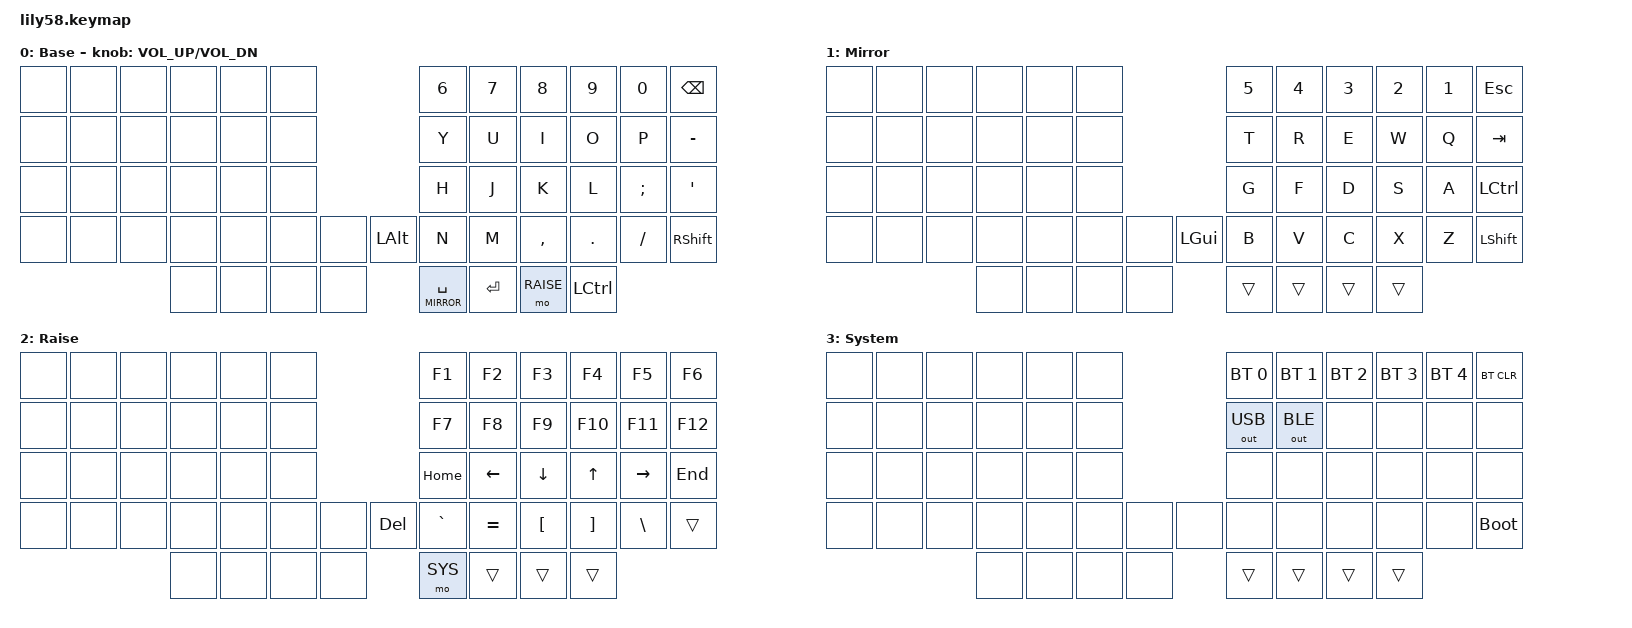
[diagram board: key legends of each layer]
/*
 * Lily58 - right half used standalone (one-handed layout)
 * Hold the Space thumb key to mirror the left half onto the right.
 *
 * SPDX-License-Identifier: MIT
 */

#include <behaviors.dtsi>
#include <dt-bindings/zmk/keys.h>
#include <dt-bindings/zmk/bt.h>
#include <dt-bindings/zmk/outputs.h>
#include <dt-bindings/zmk/ext_power.h>

#define BASE   0
#define MIRROR 1
#define RAISE  2
#define SYS    3

// Holding Space while typing another key counts as "hold" (mirror layer),
// so fast one-handed typing doesn't spit out stray spaces.
&lt {
    flavor = "balanced";
    tapping-term-ms = <200>;
};

/ {
    keymap {
        compatible = "zmk,keymap";

        default_layer {
// Right half only (left-half positions are &none):
// |  6  |  7  |  8  |  9  |  0  | BSPC |
// |  Y  |  U  |  I  |  O  |  P  |  -   |
// |  H  |  J  |  K  |  L  |  ;  |  '   |
// [ALT] |  N  |  M  |  ,  |  .  |  /  | SHIFT |
// | SPC/MIRROR | ENTER | RAISE | CTRL |
            display-name = "Base";
            bindings = <
&none &none &none &none &none &none                    &kp N6 &kp N7 &kp N8    &kp N9  &kp N0   &kp BSPC
&none &none &none &none &none &none                    &kp Y  &kp U  &kp I     &kp O   &kp P    &kp MINUS
&none &none &none &none &none &none                    &kp H  &kp J  &kp K     &kp L   &kp SEMI &kp SQT
&none &none &none &none &none &none &none   &kp LALT   &kp N  &kp M  &kp COMMA &kp DOT &kp FSLH &kp RSHFT
                  &none &none &none &none   &lt MIRROR SPACE  &kp RET  &mo RAISE  &kp LCTRL
            >;

            sensor-bindings = <&inc_dec_kp C_VOL_UP C_VOL_DN>;
        };

        mirror_layer {
// Hold Space: left half mirrored onto the right
// |  5  |  4  |  3  |  2  |  1  | ESC  |
// |  T  |  R  |  E  |  W  |  Q  | TAB  |
// |  G  |  F  |  D  |  S  |  A  | CTRL |
// [GUI] |  B  |  V  |  C  |  X  |  Z  | SHIFT |
            display-name = "Mirror";
            bindings = <
&none &none &none &none &none &none                    &kp N5 &kp N4 &kp N3 &kp N2 &kp N1 &kp ESC
&none &none &none &none &none &none                    &kp T  &kp R  &kp E  &kp W  &kp Q  &kp TAB
&none &none &none &none &none &none                    &kp G  &kp F  &kp D  &kp S  &kp A  &kp LCTRL
&none &none &none &none &none &none &none   &kp LGUI   &kp B  &kp V  &kp C  &kp X  &kp Z  &kp LSHFT
                  &none &none &none &none   &trans     &trans &trans &trans
            >;
        };

        raise_layer {
// |  F1  |  F2  |  F3  |  F4  |  F5  |  F6  |
// |  F7  |  F8  |  F9  |  F10 |  F11 |  F12 |
// | HOME |  <-  |  v   |  ^   |  ->  | END  |
// [DEL]  |  `   |  =   |  [   |  ]   |  \   |      |
// | (hold for SYS) |  |  |  |
            display-name = "Raise";
            bindings = <
&none &none &none &none &none &none                    &kp F1   &kp F2    &kp F3    &kp F4   &kp F5    &kp F6
&none &none &none &none &none &none                    &kp F7   &kp F8    &kp F9    &kp F10  &kp F11   &kp F12
&none &none &none &none &none &none                    &kp HOME &kp LEFT  &kp DOWN  &kp UP   &kp RIGHT &kp END
&none &none &none &none &none &none &none   &kp DEL    &kp GRAVE &kp EQUAL &kp LBKT &kp RBKT &kp BSLH  &trans
                  &none &none &none &none   &mo SYS    &trans   &trans    &trans
            >;
        };

        sys_layer {
// Hold Raise, then hold the Space thumb
// | BT1 | BT2 | BT3 | BT4 | BT5 | BT CLEAR |
// | USB | BLE |     |     |     |          |
// |     |     |     |     |     |          |
// [   ] |     |     |     |     |     | BOOTLOADER |
            display-name = "System";
            bindings = <
&none &none &none &none &none &none                    &bt BT_SEL 0 &bt BT_SEL 1 &bt BT_SEL 2 &bt BT_SEL 3 &bt BT_SEL 4 &bt BT_CLR
&none &none &none &none &none &none                    &out OUT_USB &out OUT_BLE &none        &none        &none        &none
&none &none &none &none &none &none                    &none        &none        &none        &none        &none        &none
&none &none &none &none &none &none &none   &none      &none        &none        &none        &none        &none        &bootloader
                  &none &none &none &none   &trans     &trans       &trans       &trans
            >;
        };

        extra_1 {
            status = "reserved";
        };

        extra_2 {
            status = "reserved";
        };
    };
};
